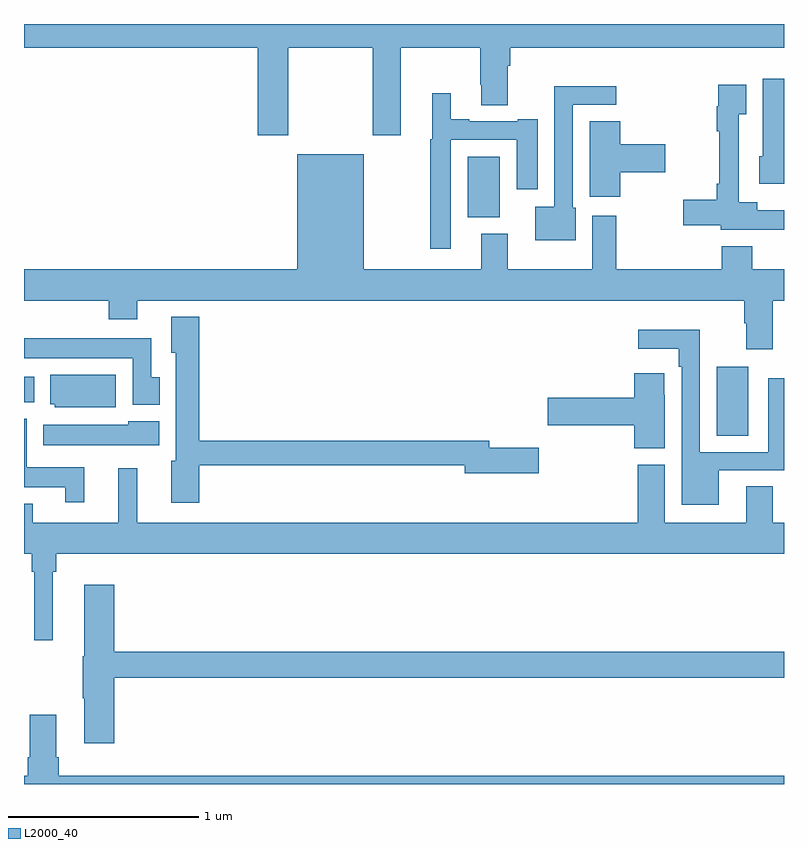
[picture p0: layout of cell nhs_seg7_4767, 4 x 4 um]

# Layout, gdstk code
import gdstk
lib = gdstk.Library(unit=1e-6, precision=1e-09)
def R(c, l, rs):  # rectangles x0, y0, x1, y1
    for r in rs: c.add(gdstk.rectangle(r[:2], r[2:], *l))
def P(c, l, *ps):  # polygons
    for p in ps: c.add(gdstk.Polygon(p, *l))
L2000_40 = (2000, 40)

nhs_seg7_4767 = lib.new_cell('nhs_seg7_4767')
R(nhs_seg7_4767, L2000_40, [(412.646,1071.832,412.813,1072.195), (409,1072.01,409.054,1072.144), (411.335,1072.982,411.505,1073.302)])
P(nhs_seg7_4767, L2000_40, [(410.391,1073.876),(410.836,1073.876),(410.836,1073.415),(410.983,1073.415),(410.983,1073.876),(411.4,1073.876),(411.4,1073.68),(411.407,1073.68),(411.407,1073.572),(411.547,1073.572),(411.547,1073.78),(411.56,1073.78),(411.56,1073.876),(413,1073.876),(413,1074),(409,1074),(409,1073.876),(410.231,1073.876),(410.231,1073.415),(410.391,1073.415)],
  [(413,1073.713),(412.889,1073.713),(412.889,1073.304),(412.871,1073.304),(412.871,1073.16),(413,1073.16)],
  [(413,1073.02),(412.858,1073.02),(412.858,1073.062),(412.761,1073.062),(412.761,1073.524),(412.801,1073.524),(412.801,1073.68),(412.653,1073.68),(412.653,1073.567),(412.645,1073.567),(412.645,1073.435),(412.66,1073.435),(412.66,1073.158),(412.645,1073.158),(412.645,1073.075),(412.47,1073.075),(412.47,1072.94),(412.668,1072.94),(412.668,1072.917),(412.895,1072.917),(412.895,1072.916),(413,1072.916)],
  [(411.904,1073.034),(411.888,1073.034),(411.888,1073.574),(412.117,1073.574),(412.117,1073.672),(411.792,1073.672),(411.792,1073.038),(411.692,1073.038),(411.692,1072.862),(411.904,1072.862)],
  [(411.246,1073.391),(411.593,1073.391),(411.593,1073.13),(411.703,1073.13),(411.703,1073.5),(411.599,1073.5),(411.599,1073.487),(411.343,1073.487),(411.343,1073.5),(411.247,1073.5),(411.247,1073.635),(411.149,1073.635),(411.149,1073.394),(411.138,1073.394),(411.138,1072.818),(411.246,1072.818)],
  [(412.139,1073.219),(412.375,1073.219),(412.375,1073.366),(412.139,1073.366),(412.139,1073.489),(411.977,1073.489),(411.977,1073.091),(412.139,1073.091)],
  [(411.407,1072.897),(411.407,1072.708),(410.788,1072.708),(410.788,1073.314),(410.438,1073.314),(410.438,1072.708),(409,1072.708),(409,1072.544),(409.445,1072.544),(409.445,1072.445),(409.597,1072.445),(409.597,1072.544),(412.79,1072.544),(412.79,1072.424),(412.802,1072.424),(412.802,1072.287),(412.942,1072.287),(412.942,1072.544),(413,1072.544),(413,1072.708),(412.833,1072.708),(412.833,1072.831),(412.673,1072.831),(412.673,1072.708),(412.118,1072.708),(412.118,1072.99),(411.992,1072.99),(411.992,1072.708),(411.547,1072.708),(411.547,1072.897)],
  [(409.922,1071.678),(411.32,1071.678),(411.32,1071.635),(411.709,1071.635),(411.709,1071.77),(411.448,1071.77),(411.448,1071.806),(409.922,1071.806),(409.922,1072.459),(409.775,1072.459),(409.775,1072.269),(409.799,1072.269),(409.799,1071.702),(409.775,1071.702),(409.775,1071.48),(409.922,1071.48)],
  [(412.657,1071.651),(413,1071.651),(413,1072.135),(412.917,1072.135),(412.917,1071.747),(412.557,1071.747),(412.557,1072.39),(412.233,1072.39),(412.233,1072.292),(412.445,1072.292),(412.445,1072.196),(412.461,1072.196),(412.461,1071.47),(412.657,1071.47)],
  [(409.714,1072.14),(409.669,1072.14),(409.669,1072.345),(409,1072.345),(409,1072.241),(409.572,1072.241),(409.572,1071.996),(409.714,1071.996)],
  [(412.372,1072.049),(412.371,1072.049),(412.371,1072.162),(412.211,1072.162),(412.211,1072.034),(411.756,1072.034),(411.756,1071.887),(412.211,1071.887),(412.211,1071.766),(412.372,1071.766)],
  [(409.483,1072.153),(409.139,1072.153),(409.139,1071.999),(409.161,1071.999),(409.161,1071.983),(409.483,1071.983)],
  [(409.316,1071.667),(409.015,1071.667),(409.015,1071.922),(409,1071.922),(409,1071.563),(409.217,1071.563),(409.217,1071.483),(409.316,1071.483)],
  [(409.711,1071.91),(409.548,1071.91),(409.548,1071.892),(409.1,1071.892),(409.1,1071.782),(409.711,1071.782)],
  [(409.15,1071.116),(409.169,1071.116),(409.169,1071.212),(413,1071.212),(413,1071.376),(412.942,1071.376),(412.942,1071.566),(412.802,1071.566),(412.802,1071.376),(412.372,1071.376),(412.372,1071.681),(412.229,1071.681),(412.229,1071.376),(409.595,1071.376),(409.595,1071.661),(409.496,1071.661),(409.496,1071.376),(409.045,1071.376),(409.045,1071.475),(409,1071.475),(409,1071.212),(409.04,1071.212),(409.04,1071.116),(409.053,1071.116),(409.053,1070.757),(409.15,1070.757)],
  [(409.475,1070.56),(413,1070.56),(413,1070.696),(409.475,1070.696),(409.475,1071.049),(409.316,1071.049),(409.316,1070.673),(409.309,1070.673),(409.309,1070.452),(409.316,1070.452),(409.316,1070.214),(409.475,1070.214)],
  [(413,1070.044),(409.184,1070.044),(409.184,1070.14),(409.171,1070.14),(409.171,1070.365),(409.031,1070.365),(409.031,1070.14),(409.019,1070.14),(409.019,1070.044),(409,1070.044),(409,1070),(413,1070)])

lib.write_gds('nhs_seg7_4767.gds')
